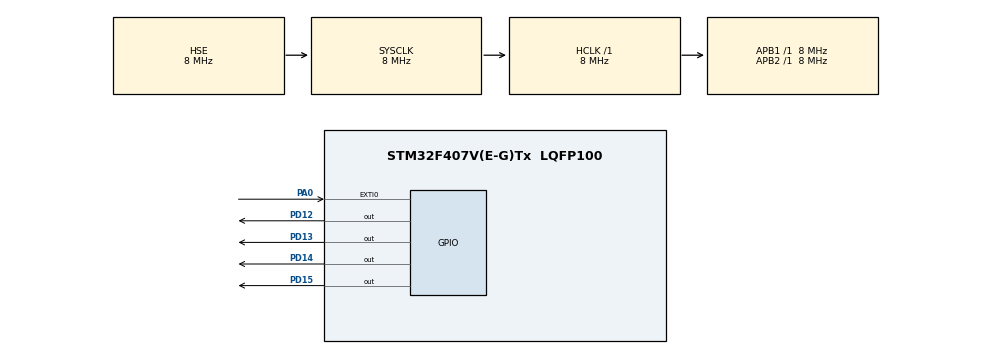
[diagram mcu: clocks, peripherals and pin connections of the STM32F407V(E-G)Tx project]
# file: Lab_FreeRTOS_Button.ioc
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FREERTOS.HEAP_NUMBER=2
FREERTOS.Tasks01=defaultTask,0,128,StartDefaultTask,Default,NULL,Dynamic,NULL,NULL
FREERTOS.configTICK_RATE_HZ=100
Mcu.Family=STM32F4
Mcu.Name=STM32F407V(E-G)Tx
Mcu.Package=LQFP100
NVIC.EXTI0_IRQn=true\:5\:0\:false\:false\:true\:true\:true\:true\:true
NVIC.PriorityGroup=NVIC_PRIORITYGROUP_4
PA0-WKUP.Signal=GPXTI0
PD12.GPIO_Speed=GPIO_SPEED_FREQ_VERY_HIGH
PD12.Signal=GPIO_Output
PD13.GPIO_Speed=GPIO_SPEED_FREQ_VERY_HIGH
PD13.Signal=GPIO_Output
PD14.GPIO_Speed=GPIO_SPEED_FREQ_VERY_HIGH
PD14.Signal=GPIO_Output
PD15.GPIO_Speed=GPIO_SPEED_FREQ_VERY_HIGH
PD15.Signal=GPIO_Output
PH0-OSC_IN.Mode=HSE-External-Oscillator
PH0-OSC_IN.Signal=RCC_OSC_IN
PH1-OSC_OUT.Mode=HSE-External-Oscillator
PH1-OSC_OUT.Signal=RCC_OSC_OUT
ProjectManager.HeapSize=0x200
ProjectManager.StackSize=0x400
ProjectManager.TargetToolchain=STM32CubeIDE
RCC.48MHZClocksFreq_Value=32000000
RCC.AHBFreq_Value=8000000
RCC.APB1Freq_Value=8000000
RCC.APB1TimFreq_Value=8000000
RCC.APB2Freq_Value=8000000
RCC.APB2TimFreq_Value=8000000
RCC.CortexFreq_Value=8000000
RCC.HCLKFreq_Value=8000000
RCC.HSE_VALUE=8000000
RCC.HSI_VALUE=16000000
RCC.LSE_VALUE=32768
RCC.PLLM=4
RCC.PLLN=64
RCC.PLLSourceVirtual=RCC_PLLSOURCE_HSE
RCC.SYSCLKFreq_VALUE=8000000
RCC.SYSCLKSource=RCC_SYSCLKSOURCE_HSE
RCC.VCOOutputFreq_Value=128000000
VP_FREERTOS_VS_CMSIS_V1.Mode=CMSIS_V1
board=custom

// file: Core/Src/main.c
/* USER CODE BEGIN Header */
/**
  ******************************************************************************
  * @file           : main.c
  * @brief          : Main program body
  ******************************************************************************
  * @attention
  *
  * Copyright (c) 2023 STMicroelectronics.
  * All rights reserved.
  *
  * This software is licensed under terms that can be found in the LICENSE file
  * in the root directory of this software component.
  * If no LICENSE file comes with this software, it is provided AS-IS.
  *
  ******************************************************************************
  */
/* USER CODE END Header */
#include "main.h"
#include "cmsis_os.h"
#include "gpio.h"

/* USER CODE BEGIN PV */
xTaskHandle xTaskHandle1, xTaskHandle2, xTaskHandle3, xTaskHandle4;
uint8_t buttonPressed = 0;
xSemaphoreHandle xBinarySemaphore;
/* USER CODE END PV */

void SystemClock_Config(void);
void MX_FREERTOS_Init(void);

/* USER CODE BEGIN 0 */
int main(void) {
	HAL_Init();
	SystemClock_Config();
	MX_GPIO_Init();
	xBinarySemaphore = xSemaphoreCreateBinary();
	if(xBinarySemaphore != NULL) {
		xTaskCreate(vTask1, (const char *)"TASK_1", configMINIMAL_STACK_SIZE, NULL, 1, NULL);
		vTaskStartScheduler();
	}

	while(1);
}
/* USER CODE END 0 */

void SystemClock_Config(void)
{
  RCC_OscInitTypeDef RCC_OscInitStruct = {0};
  RCC_ClkInitTypeDef RCC_ClkInitStruct = {0};

  /** Configure the main internal regulator output voltage
  */
  __HAL_RCC_PWR_CLK_ENABLE();
  __HAL_PWR_VOLTAGESCALING_CONFIG(PWR_REGULATOR_VOLTAGE_SCALE1);

  /** Initializes the RCC Oscillators according to the specified parameters
  * in the RCC_OscInitTypeDef structure.
  */
  RCC_OscInitStruct.OscillatorType = RCC_OSCILLATORTYPE_HSE;
  RCC_OscInitStruct.HSEState = RCC_HSE_ON;
  RCC_OscInitStruct.PLL.PLLState = RCC_PLL_NONE;
  if (HAL_RCC_OscConfig(&RCC_OscInitStruct) != HAL_OK)
  {
    Error_Handler();
  }

  /** Initializes the CPU, AHB and APB buses clocks
  */
  RCC_ClkInitStruct.ClockType = RCC_CLOCKTYPE_HCLK|RCC_CLOCKTYPE_SYSCLK
                              |RCC_CLOCKTYPE_PCLK1|RCC_CLOCKTYPE_PCLK2;
  RCC_ClkInitStruct.SYSCLKSource = RCC_SYSCLKSOURCE_HSE;
  RCC_ClkInitStruct.AHBCLKDivider = RCC_SYSCLK_DIV1;
  RCC_ClkInitStruct.APB1CLKDivider = RCC_HCLK_DIV1;
  RCC_ClkInitStruct.APB2CLKDivider = RCC_HCLK_DIV1;

  if (HAL_RCC_ClockConfig(&RCC_ClkInitStruct, FLASH_LATENCY_0) != HAL_OK)
  {
    Error_Handler();
  }
}

/* USER CODE BEGIN 4 */
void HAL_GPIO_EXTI_Callback(uint16_t GPIO_Pin) {
	if(GPIO_Pin == USER_BUTTON_PIN) {
		HAL_NVIC_DisableIRQ(EXTI0_IRQn);
		buttonPressed = 1;
		HAL_NVIC_EnableIRQ(EXTI0_IRQn);
	}
	else {
		__NOP();
	}
}

void vTask1(void *pvParameters) {
	uint32_t tasksCount, led_state;
	tasksCount = 1;
	led_state = 1;
	xSemaphoreGive(xBinarySemaphore);
	while(1) {
		vTaskDelay(DELAY_MS / portTICK_RATE_MS);
		gpio_led_state(LED4_GREEN_ID, led_state);
		led_state = (led_state == 1) ? 0 : 1;
		xSemaphoreTake(xBinarySemaphore, 1 );
		if(buttonPressed) {
			buttonPressed = 0;
			xSemaphoreGive(xBinarySemaphore);
			tasksCount++;
			if(tasksCount == 5) {
				vTaskDelete(xTaskHandle2);
				vTaskDelete(xTaskHandle3);
				vTaskDelete(xTaskHandle4);
				gpio_led_state(LED3_ORANGE_ID, 0);
				gpio_led_state(LED5_RED_ID, 0);
				gpio_led_state(LED6_BLUE_ID, 0);

				tasksCount = 1;
			} else {
				switch (tasksCount) {
					case 2:
						xTaskCreate ( vTask2 , " TASK2 ", configMINIMAL_STACK_SIZE ,
								NULL , 2, & xTaskHandle2 );
						break ;
					case 3:
						xTaskCreate ( vTask3 , " TASK3 ", configMINIMAL_STACK_SIZE ,
								NULL , 3, & xTaskHandle3 );
						break ;
					case 4:
						xTaskCreate ( vTask4 , " TASK4 ", configMINIMAL_STACK_SIZE ,
								NULL , 4, & xTaskHandle4 );
						break ;
				}
			}
		}
	}
}

void vTask2(void *pvParameters) {
	uint32_t led_state;
	led_state = 1;
	while(1) {
		vTaskDelay(DELAY_MS / portTICK_RATE_MS);
		gpio_led_state(LED3_ORANGE_ID, led_state);
		led_state = (led_state == 1) ? 0 : 1;
	}
}

void vTask3(void *pvParameters) {
	uint32_t led_state;
	led_state = 1;
	while(1) {
		vTaskDelay(DELAY_MS / portTICK_RATE_MS);
		gpio_led_state(LED5_RED_ID, led_state);
		led_state = (led_state == 1) ? 0 : 1;
	}
}

void vTask4(void *pvParameters) {
	uint32_t led_state;
	led_state = 1;
	while(1) {
		vTaskDelay(DELAY_MS / portTICK_RATE_MS);
		gpio_led_state(LED6_BLUE_ID, led_state);
		led_state = (led_state == 1) ? 0 : 1;
	}
}
/* USER CODE END 4 */

void Error_Handler(void)
{
  __disable_irq();
  while (1)
  {
  }
}
